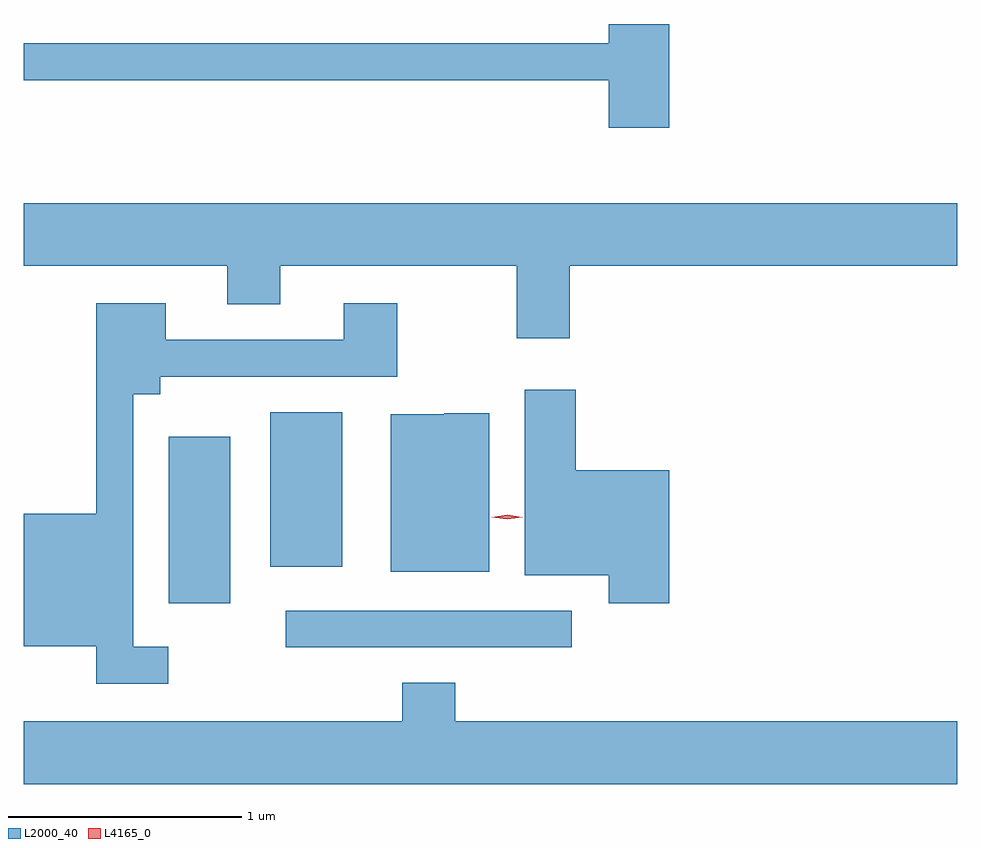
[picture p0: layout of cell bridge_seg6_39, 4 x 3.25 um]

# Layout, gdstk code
import gdstk
lib = gdstk.Library(unit=1e-6, precision=1e-09)
def R(c, l, rs):  # rectangles x0, y0, x1, y1
    for r in rs: c.add(gdstk.rectangle(r[:2], r[2:], *l))
def P(c, l, *ps):  # polygons
    for p in ps: c.add(gdstk.Polygon(p, *l))
L2000_40 = (2000, 40)
L4165_0 = (4165, 0)

bridge_seg6_39 = lib.new_cell('bridge_seg6_39')
R(bridge_seg6_39, L2000_40, [(1609.893,1654.961,1611.118,1655.119), (1609.391,1655.151,1609.654,1655.864), (1609.826,1655.306,1610.134,1655.969)])
P(bridge_seg6_39, L2000_40, [(1611.534,1657.631),(1611.276,1657.631),(1611.276,1657.549),(1608.769,1657.549),(1608.769,1657.391),(1611.276,1657.391),(1611.276,1657.186),(1611.534,1657.186)],
  [(1611.109,1656.596),(1612.769,1656.596),(1612.769,1656.864),(1608.769,1656.864),(1608.769,1656.596),(1609.641,1656.596),(1609.641,1656.431),(1609.869,1656.431),(1609.869,1656.596),(1610.881,1656.596),(1610.881,1656.286),(1611.109,1656.286)],
  [(1609.388,1654.964),(1609.239,1654.964),(1609.239,1656.046),(1609.354,1656.046),(1609.354,1656.121),(1610.369,1656.121),(1610.369,1656.434),(1610.141,1656.434),(1610.141,1656.279),(1609.379,1656.279),(1609.379,1656.434),(1609.081,1656.434),(1609.081,1655.534),(1608.769,1655.534),(1608.769,1654.966),(1609.081,1654.966),(1609.081,1654.806),(1609.388,1654.806)],
  [(1611.534,1655.719),(1611.134,1655.719),(1611.134,1656.064),(1610.916,1656.064),(1610.916,1655.271),(1611.276,1655.271),(1611.276,1655.151),(1611.534,1655.151)],
  [(1610.764,1655.964),(1610.57,1655.964),(1610.57,1655.959),(1610.341,1655.959),(1610.341,1655.286),(1610.764,1655.286)],
  [(1612.769,1654.644),(1610.619,1654.644),(1610.619,1654.809),(1610.391,1654.809),(1610.391,1654.644),(1608.769,1654.644),(1608.769,1654.376),(1612.769,1654.376)])
P(bridge_seg6_39, L4165_0, [(1610.84,1655.509),(1610.774,1655.518),(1610.773,1655.519),(1610.774,1655.519),(1610.84,1655.529),(1610.906,1655.519),(1610.907,1655.519),(1610.906,1655.518)])

lib.write_gds('bridge_seg6_39.gds')
